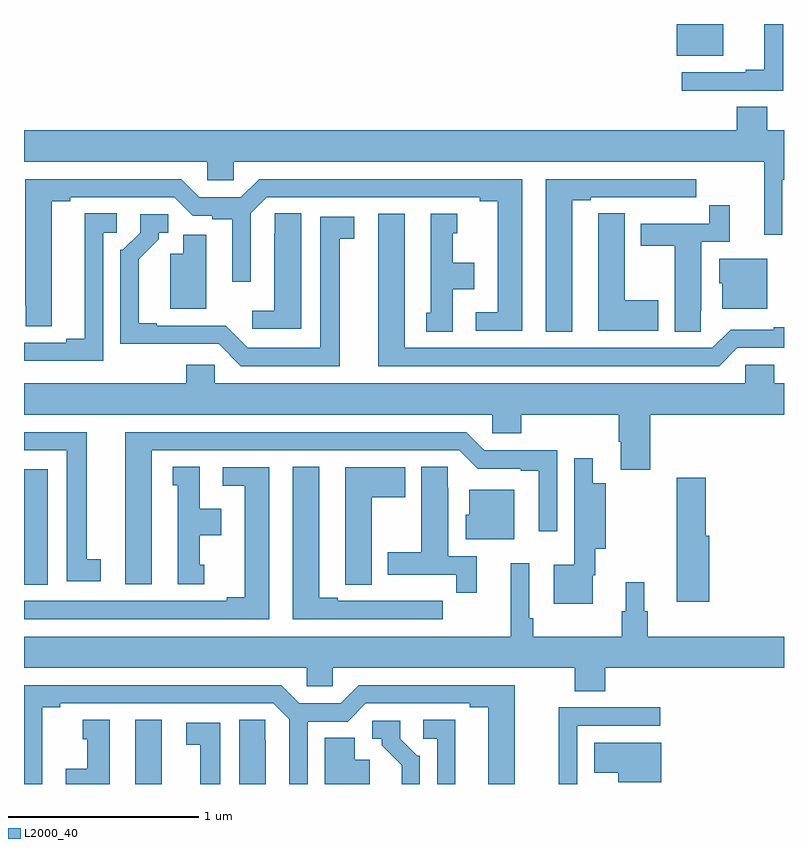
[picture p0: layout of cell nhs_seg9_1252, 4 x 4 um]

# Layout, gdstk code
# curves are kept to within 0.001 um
import gdstk
lib = gdstk.Library(unit=1e-6, precision=1e-09)
def R(c, l, rs):  # rectangles x0, y0, x1, y1
    for r in rs: c.add(gdstk.rectangle(r[:2], r[2:], *l))
def P(c, l, *ps):  # polygons
    for p in ps: c.add(gdstk.Polygon(p, *l))
L2000_40 = (2000, 40)

nhs_seg9_1252 = lib.new_cell('nhs_seg9_1252')
R(nhs_seg9_1252, L2000_40, [(181.586,1170.5,181.726,1170.838), (181,1171.549,181.126,1172.157), (184.436,1174.334,184.681,1174.5)])
P(nhs_seg9_1252, L2000_40, [(184.995,1174.5),(184.895,1174.5),(184.895,1174.258),(184.799,1174.258),(184.799,1174.245),(184.461,1174.245),(184.461,1174.149),(184.995,1174.149)],
  [(184.992,1173.68),(185,1173.68),(185,1173.94),(184.911,1173.94),(184.911,1174.064),(184.751,1174.064),(184.751,1173.94),(181,1173.94),(181,1173.776),(181.965,1173.776),(181.965,1173.678),(182.103,1173.678),(182.103,1173.776),(184.895,1173.776),(184.895,1173.39),(184.992,1173.39)],
  [(183.622,1173.684),(182.237,1173.684),(182.141,1173.588),(181.923,1173.588),(181.827,1173.684),(181.007,1173.684),(181.008,1172.908),(181.147,1172.908),(181.147,1173.568),(181.243,1173.568),(181.243,1173.588),(181.791,1173.588),(181.887,1173.492),(181.992,1173.492),(181.992,1173.472),(182.096,1173.472),(182.096,1173.144),(182.193,1173.144),(182.193,1173.504),(182.277,1173.588),(183.398,1173.588),(183.398,1173.568),(183.494,1173.568),(183.494,1172.982),(183.378,1172.982),(183.378,1172.886),(183.622,1172.886)],
  [(183.886,1173.573),(183.982,1173.573),(183.982,1173.588),(184.258,1173.588),(184.258,1173.587),(184.424,1173.587),(184.424,1173.588),(184.537,1173.588),(184.537,1173.684),(183.746,1173.684),(183.746,1172.881),(183.886,1172.881)],
  [(184.563,1172.992),(184.564,1172.992),(184.564,1173.354),(184.715,1173.354),(184.715,1173.547),(184.606,1173.547),(184.606,1173.45),(184.247,1173.45),(184.247,1173.334),(184.424,1173.334),(184.424,1172.881),(184.563,1172.881)],
  [(181.416,1173.402),(181.489,1173.402),(181.489,1173.503),(181.319,1173.503),(181.319,1172.843),(181.223,1172.843),(181.223,1172.823),(181,1172.823),(181,1172.727),(181.416,1172.727)],
  [(182.458,1173.503),(182.319,1173.503),(182.319,1173.395),(182.318,1173.395),(182.318,1172.992),(182.202,1172.992),(182.202,1172.895),(182.458,1172.895)],
  [(184.339,1173.045),(184.162,1173.045),(184.162,1173.503),(184.023,1173.503),(184.023,1173.395),(184.022,1173.395),(184.022,1172.885),(184.339,1172.885)],
  [(183.256,1173.104),(183.37,1173.104),(183.37,1173.244),(183.256,1173.244),(183.256,1173.399),(183.28,1173.399),(183.28,1173.502),(183.14,1173.502),(183.14,1172.979),(183.116,1172.979),(183.116,1172.881),(183.256,1172.881)],
  [(184.755,1172.796),(185,1172.796),(185,1172.905),(184.946,1172.905),(184.946,1172.892),(184.719,1172.892),(184.623,1172.796),(183.004,1172.796),(183.004,1173.502),(182.864,1173.502),(182.864,1172.7),(184.659,1172.7)],
  [(182.662,1173.37),(182.737,1173.37),(182.737,1173.486),(182.558,1173.486),(182.558,1172.796),(182.178,1172.796),(182.061,1172.913),(181.699,1172.913),(181.699,1172.926),(181.603,1172.926),(181.603,1173.262),(181.708,1173.367),(181.708,1173.402),(181.758,1173.402),(181.758,1173.498),(181.611,1173.498),(181.611,1173.402),(181.521,1173.312),(181.506,1173.312),(181.506,1172.816),(182.025,1172.817),(182.142,1172.7),(182.662,1172.7)],
  [(181.96,1173.39),(181.838,1173.39),(181.838,1173.292),(181.769,1173.292),(181.769,1173.002),(181.96,1173.002)],
  [(184.912,1173.265),(184.658,1173.265),(184.658,1173.135),(184.676,1173.135),(184.676,1173.002),(184.912,1173.002)],
  [(184.295,1172.444),(185,1172.444),(185,1172.608),(184.949,1172.608),(184.949,1172.706),(184.797,1172.706),(184.797,1172.608),(182.004,1172.608),(182.004,1172.706),(181.853,1172.706),(181.853,1172.608),(181,1172.608),(181,1172.444),(183.465,1172.444),(183.465,1172.346),(183.617,1172.346),(183.617,1172.444),(184.13,1172.444),(184.13,1172.302),(184.142,1172.302),(184.142,1172.154),(184.295,1172.154)],
  [(181.405,1171.682),(181.33,1171.682),(181.33,1172.352),(181,1172.352),(181,1172.256),(181.226,1172.256),(181.226,1171.566),(181.405,1171.566)],
  [(181.672,1172.256),(183.291,1172.256),(183.387,1172.16),(183.614,1172.16),(183.614,1172.148),(183.71,1172.148),(183.71,1171.83),(183.807,1171.83),(183.807,1172.256),(183.423,1172.256),(183.327,1172.352),(181.532,1172.352),(181.532,1171.551),(181.672,1171.551)],
  [(183.993,1171.598),(184.006,1171.598),(184.006,1171.739),(184.062,1171.739),(184.062,1172.083),(183.994,1172.083),(183.994,1172.215),(183.896,1172.215),(183.896,1171.979),(183.895,1171.979),(183.895,1171.654),(183.788,1171.654),(183.788,1171.448),(183.993,1171.448)],
  [(183.205,1171.464),(183.092,1171.464),(183.092,1171.465),(182.926,1171.465),(182.926,1171.464),(182.65,1171.464),(182.65,1171.479),(182.554,1171.479),(182.554,1172.171),(182.414,1172.171),(182.414,1171.368),(183.205,1171.368)],
  [(181.948,1171.653),(181.924,1171.653),(181.924,1171.808),(182.038,1171.808),(182.038,1171.948),(181.924,1171.948),(181.924,1172.171),(181.784,1172.171),(181.784,1172.073),(181.808,1172.073),(181.808,1171.551),(181.948,1171.551)],
  [(183.383,1171.698),(183.232,1171.698),(183.232,1172.06),(183.231,1172.06),(183.231,1172.171),(183.092,1172.171),(183.092,1171.719),(182.915,1171.719),(182.915,1171.602),(183.274,1171.602),(183.274,1171.506),(183.383,1171.506)],
  [(182.83,1172.008),(183.007,1172.008),(183.007,1172.167),(182.69,1172.167),(182.69,1171.657),(182.691,1171.657),(182.691,1171.549),(182.83,1171.549)],
  [(182.29,1172.166),(182.046,1172.166),(182.046,1172.07),(182.162,1172.07),(182.162,1171.484),(182.066,1171.484),(182.066,1171.464),(181,1171.464),(181,1171.368),(182.29,1171.368)],
  [(184.607,1171.806),(184.589,1171.806),(184.589,1172.113),(184.435,1172.113),(184.435,1171.806),(184.436,1171.806),(184.436,1171.458),(184.607,1171.458)],
  [(183.58,1172.05),(183.344,1172.05),(183.344,1171.917),(183.326,1171.917),(183.326,1171.787),(183.58,1171.787)],
  [(184.058,1171.112),(185,1171.112),(185,1171.276),(184.283,1171.276),(184.283,1171.41),(184.264,1171.41),(184.264,1171.561),(184.166,1171.561),(184.166,1171.41),(184.147,1171.41),(184.147,1171.276),(183.68,1171.276),(183.68,1171.372),(183.66,1171.372),(183.66,1171.663),(183.563,1171.663),(183.563,1171.276),(181,1171.276),(181,1171.112),(182.487,1171.112),(182.487,1171.014),(182.625,1171.014),(182.625,1171.112),(183.898,1171.112),(183.898,1170.988),(184.058,1170.988)],
  [(181.096,1170.904),(181.192,1170.904),(181.192,1170.924),(182.313,1170.924),(182.397,1170.84),(182.397,1170.5),(182.493,1170.5),(182.493,1170.828),(182.703,1170.828),(182.799,1170.924),(183.347,1170.924),(183.347,1170.904),(183.443,1170.904),(183.443,1170.5),(183.583,1170.5),(183.583,1171.02),(182.763,1171.02),(182.667,1170.924),(182.449,1170.924),(182.353,1171.02),(181,1171.02),(181,1170.5),(181.096,1170.5)],
  [(183.912,1170.807),(184.348,1170.807),(184.348,1170.903),(183.814,1170.903),(183.814,1170.5),(183.912,1170.5)],
  [(182.272,1170.731),(182.271,1170.731),(182.271,1170.839),(182.132,1170.839),(182.132,1170.5),(182.272,1170.5)],
  [(183.271,1170.839),(183.102,1170.839),(183.102,1170.738),(183.174,1170.738),(183.174,1170.5),(183.271,1170.5)],
  [(181.45,1170.838),(181.31,1170.838),(181.31,1170.735),(181.334,1170.735),(181.334,1170.58),(181.22,1170.58),(181.22,1170.5),(181.45,1170.5)],
  [(183.084,1170.648),(183.069,1170.648),(182.979,1170.738),(182.979,1170.834),(182.832,1170.834),(182.832,1170.738),(182.882,1170.738),(182.882,1170.703),(182.987,1170.598),(182.987,1170.5),(183.084,1170.5)],
  [(182.032,1170.822),(181.854,1170.822),(181.854,1170.706),(181.928,1170.706),(181.928,1170.5),(182.032,1170.5)],
  [(182.821,1170.628),(182.74,1170.628),(182.74,1170.743),(182.582,1170.743),(182.582,1170.5),(182.821,1170.5)],
  [(184.354,1170.718),(184.002,1170.718),(184.002,1170.56),(184.127,1170.56),(184.127,1170.509),(184.354,1170.509)])

lib.write_gds('nhs_seg9_1252.gds')
